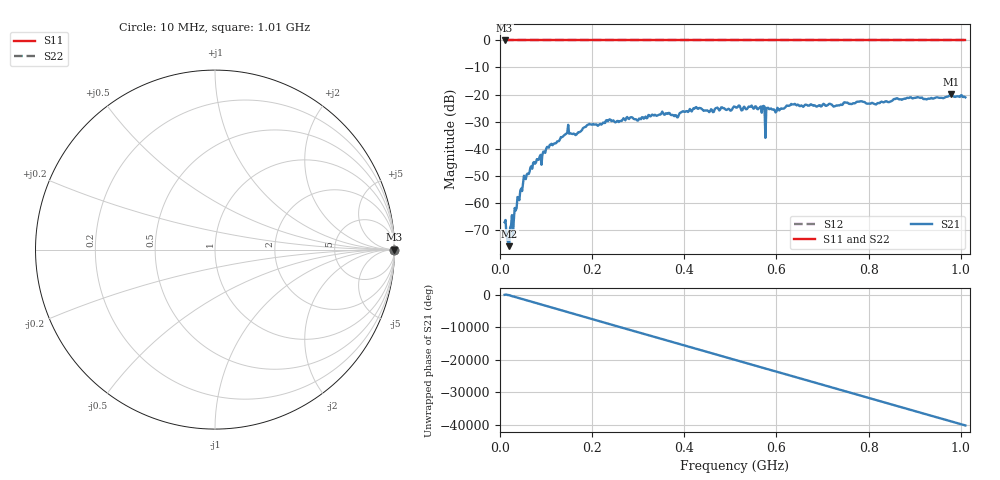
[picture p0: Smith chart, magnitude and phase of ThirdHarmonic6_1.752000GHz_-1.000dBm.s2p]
! 8/16/2025 9:08:24 PM
! C:\ANRITSUVNA\TEMP\TEMP.S2P
! CHANNEL.1
! TR.MEASUREMENT
! RAW.DATA
! RF.CORRECTION.OFF
! AVERAGING.OFF
! IF.BANDWIDTH: 5KHZ
! SWEEPTYPE:  FREQ.SWEEP(Linear)
! Reference Plane Port Info
! PORT:  PORT1  PORT2
! DISTANCE:  0  m  0  m
! TIME:  0  s  0  s
! PHASE.OFFSET:  0  deg.  0  deg.
! LOSS:  0  dB  0  dB
! REF.LOSS:  0  dB  0  dB
! REF.FREQ:  0  Hz  0  Hz
! Power Info
! POWER:  -20  dBm  -20  dBm
! EFF.POWER:  -20  dBm  -20  dBm
! SOURCE.ATTEN:  0  dB  0  dB
! TEST.ATTEN:  0  dB  0  dB
# GHZ S RI R 50.0
! FREQ.GHZ  S11RE  S11IM  S21RE  S21IM  S12RE  S12IM  S22RE  S22IM
!; PortSelection: Port_12
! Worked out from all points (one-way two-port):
!   501 points, 10 MHz to 1.01 GHz, reference 50 ohm
!   highest |S21| = -19.93 dB at 978 MHz (marker M1); lowest = -76.1 dB at 20 MHz (marker M2)
!   lowest |S11| = 0.0 dB at 10 MHz (marker M3)
!   |S11| at or under -10 dB: nowhere
!   |S22| runs from 0.0 to 0.0 dB; largest |S21 - S12| = 1.1
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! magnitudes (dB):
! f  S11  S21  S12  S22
! 10 MHz  0.0  -67.2  0.0  0.0
! 16 MHz  0.0  -73.8  0.0  0.0
! 20 MHz  0.0  -76.1  0.0  0.0
! 48 MHz  0.0  -55.7  0.0  0.0
! 70 MHz  0.0  -47.4  0.0  0.0
! 144 MHz  0.0  -34.5  0.0  0.0
! 162 MHz  0.0  -34.7  0.0  0.0
! 178 MHz  0.0  -33.1  0.0  0.0
! 234 MHz  0.0  -29.9  0.0  0.0
! 344 MHz  0.0  -27.6  0.0  0.0
! 382 MHz  0.0  -27.7  0.0  0.0
! 424 MHz  0.0  -24.8  0.0  0.0
! 452 MHz  0.0  -26.1  0.0  0.0
! 510 MHz  0.0  -24.5  0.0  0.0
! 570 MHz  0.0  -24.3  0.0  0.0
! 572 MHz  0.0  -24.2  0.0  0.0
! 580 MHz  0.0  -24.9  0.0  0.0
! 582 MHz  0.0  -24.9  0.0  0.0
! 678 MHz  0.0  -23.9  0.0  0.0
! 844 MHz  0.0  -22.8  0.0  0.0
! 978 MHz  0.0  -19.9  0.0  0.0
! 1.01 GHz  0.0  -21.0  0.0  0.0
